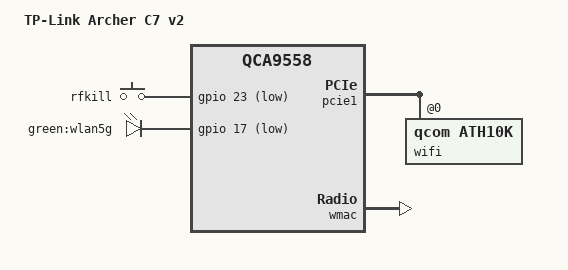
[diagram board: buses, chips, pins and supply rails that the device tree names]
// SPDX-License-Identifier: GPL-2.0-or-later OR MIT

#include "qca9558_tplink_archer-c.dtsi"

/ {
	compatible = "tplink,archer-c7-v2", "qca,qca9558";
	model = "TP-Link Archer C7 v2";

	aliases {
		label-mac-device = &eth1;
	};
};

&keys {
	rfkill {
		label = "rfkill";
		gpios = <&gpio 23 GPIO_ACTIVE_LOW>;
		linux,code = <KEY_RFKILL>;
		linux,input-type = <EV_SW>;
		debounce-interval = <1000>;
	};
};

&leds {
	wlan5g {
		label = "green:wlan5g";
		gpios = <&gpio 17 GPIO_ACTIVE_LOW>;
		linux,default-trigger = "phy0tpt";
	};
};

&uboot {
	nvmem-layout {
		compatible = "fixed-layout";
		#address-cells = <1>;
		#size-cells = <1>;

		macaddr_uboot_1fc00: macaddr@1fc00 {
			compatible = "mac-base";
			reg = <0x1fc00 0x6>;
			#nvmem-cell-cells = <1>;
		};
	};
};

&art {
	nvmem-layout {
		compatible = "fixed-layout";
		#address-cells = <1>;
		#size-cells = <1>;

		calibration_art_1000: calibration@1000 {
			reg = <0x1000 0x440>;
		};

		calibration_art_5000: calibration@5000 {
			reg = <0x5000 0x844>;
		};
	};
};

&eth0 {
	nvmem-cells = <&macaddr_uboot_1fc00 1>;
	nvmem-cell-names = "mac-address";
};

&eth1 {
	nvmem-cells = <&macaddr_uboot_1fc00 0>;
	nvmem-cell-names = "mac-address";
};

&pcie1 {
	status = "okay";

	wifi@0,0 {
		compatible = "qcom,ath10k";
		reg = <0 0 0 0 0>;

		nvmem-cells = <&macaddr_uboot_1fc00 (-1)>, <&calibration_art_5000>;
		nvmem-cell-names = "mac-address", "calibration";
	};
};

&wmac {
	nvmem-cells = <&macaddr_uboot_1fc00 0>, <&calibration_art_1000>;
	nvmem-cell-names = "mac-address", "calibration";
};
